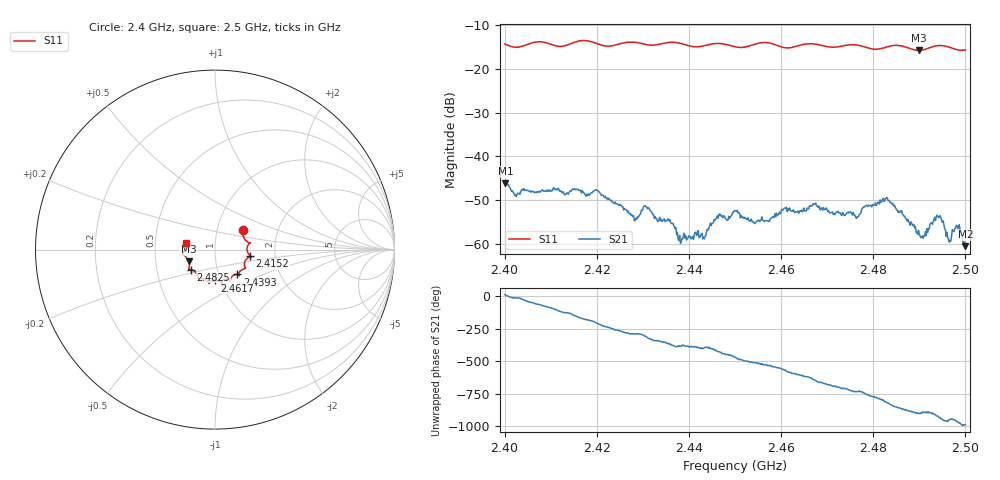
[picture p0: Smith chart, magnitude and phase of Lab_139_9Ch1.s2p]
# Hz S RI R 50
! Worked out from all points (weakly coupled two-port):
!   601 points, 2.4 GHz to 2.5 GHz, reference 50 ohm
!   highest |S21| = -46.09 dB at 2.4002 GHz (marker M1); lowest = -60.4 dB at 2.5 GHz (marker M2)
!   lowest |S11| = -15.9 dB at 2.4898 GHz (marker M3), VSWR 1.38, Z = 36.9 - j4.87 ohm
!   |S11| at or under -10 dB: start of sweep to end of sweep
!   S12 and S22 are empty: the file has one direction only
!   S11 on the Smith chart (normalised r, x): 2.4 GHz: 1.33, +0.30; 2.4152 GHz: 1.48, -0.11; 2.4393 GHz: 1.23, -0.35; 2.4617 GHz: 0.94, -0.33; 2.4825 GHz: 0.75, -0.17; 2.5 GHz: 0.72, +0.05
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2.4e9  0.1554 0.11  0.00485 0.000979  0 0  0 0
2.400167e9  0.1549 0.1077  0.00491 0.00071  0 0  0 0
2.4025e9  0.1599 0.069  0.00339 -0.000845  0 0  0 0
2.415167e9  0.1955 -0.0362  -0.00369 -0.00224  0 0  0 0
2.416667e9  0.2038 -0.0415  -0.0038 -0.000581  0 0  0 0
2.428333e9  0.1691 -0.1046  0.000669 0.00178  0 0  0 0
2.430833e9  0.1485 -0.1132  0.00187 0.00191  0 0  0 0
2.433333e9  0.133 -0.1329  0.00174 0.00053  0 0  0 0
2.439333e9  0.1239 -0.1384  0.00112 -0.000542  0 0  0 0
2.443167e9  0.0898 -0.1573  0.000912 -0.000796  0 0  0 0
2.45e9  0.0663 -0.1643  -0.000868 -0.00226  0 0  0 0
2.454167e9  0.0349 -0.1852  -0.00152 -0.000876  0 0  0 0
2.461667e9  0.00102 -0.1716  -0.00167 0.00178  0 0  0 0
2.466667e9  -0.0333 -0.1887  0.000152 0.00278  0 0  0 0
2.476333e9  -0.0944 -0.1596  0.00193 -0.00043  0 0  0 0
2.4825e9  -0.1327 -0.1112  -4.03e-05 -0.00313  0 0  0 0
2.483333e9  -0.1401 -0.1104  -0.000723 -0.00306  0 0  0 0
2.489833e9  -0.1475 -0.0643  -0.00145 -1.1e-05  0 0  0 0
2.494167e9  -0.181 -0.0232  -0.00181 0.00089  0 0  0 0
2.496333e9  -0.1756 -0.0154  -0.000691 0.000918  0 0  0 0
2.498333e9  -0.163 0.00671  -0.000613 0.00141  0 0  0 0
2.5e9  -0.1594 0.0352  -3.29e-05 0.000955  0 0  0 0
